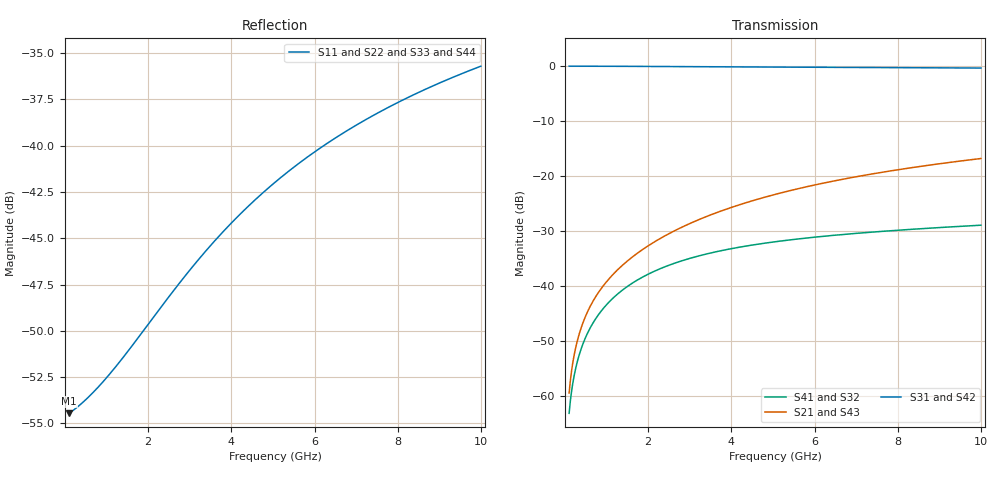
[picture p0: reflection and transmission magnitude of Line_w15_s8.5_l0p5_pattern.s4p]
! TOUCHSTONE file generated by CST MICROWAVE STUDIO
! Date and time: Wed Oct 15 12:58:54 2014
! Project name: Untitled_1.cst
# GHZ S MA R 50
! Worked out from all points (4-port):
!   1001 points, 100 MHz to 10 GHz, reference 50 ohm
!   strongest paths, dB at 100 MHz, 2.575 GHz, 5.05 GHz, 7.525 GHz, 10 GHz:
!     S31: 0.0, -0.1, -0.2, -0.3, -0.4
!     S42: 0.0, -0.1, -0.2, -0.3, -0.4
!     S21: -59.5, -30.2, -23.4, -19.5, -16.8
!     S43: -59.5, -30.2, -23.4, -19.5, -16.8
!     S41: -63.2, -36.1, -32.0, -30.2, -29.0
!     S32: -63.2, -36.1, -32.0, -30.2, -29.0
!   lowest |S11| = -54.5 dB at 100 MHz (marker M1), VSWR 1.00, Z = 50.2 - j0.0172 ohm
!   |S11| at or under -10 dB: start of sweep to end of sweep
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0.1  0.001894 -5.2  0.001055 90.4  0.9981 -0.2  0.0006888 -91.2
     0.001055 90.4  0.001894 -5.3  0.0006888 -91.2  0.9981 -0.2
     0.9981 -0.2  0.0006888 -91.2  0.001894 -5.2  0.001055 90.4
     0.0006888 -91.2  0.9981 -0.2  0.001055 90.4  0.001894 -5.3
0.3376  0.001986 -19.7  0.00358 91.6  0.9978 -0.8  0.002311 -93.8
        0.00358 91.6  0.001989 -20.0  0.00231 -93.8  0.9978 -0.8
        0.9978 -0.8  0.002311 -93.8  0.001985 -19.7  0.00358 91.6
        0.00231 -93.8  0.9978 -0.8  0.00358 91.6  0.001989 -20.0
0.7138  0.002178 -41.7  0.007665 92.9  0.9971 -1.6  0.004841 -97.8
        0.007665 92.9  0.002192 -42.2  0.004841 -97.8  0.9971 -1.6
        0.9971 -1.6  0.004841 -97.8  0.002177 -41.7  0.007665 92.9
        0.004841 -97.8  0.9971 -1.6  0.007665 92.9  0.002193 -42.2
1.3177  0.002611 -74.0  0.01458 94.4  0.9954 -3.0  0.008727 -104.0
        0.01458 94.4  0.002652 -74.4  0.008727 -104.0  0.9954 -3.0
        0.9954 -3.0  0.008727 -104.0  0.00261 -74.1  0.01458 94.4
        0.008727 -104.0  0.9954 -3.0  0.01458 94.4  0.002653 -74.4
2.1889  0.003515 -113.0  0.02557 95.3  0.992 -4.8  0.01376 -112.2
        0.02557 95.3  0.003591 -112.9  0.01376 -112.2  0.992 -4.8
        0.992 -4.8  0.01376 -112.2  0.003519 -113.1  0.02557 95.3
        0.01376 -112.2  0.992 -4.8  0.02557 95.3  0.003591 -112.8
5.2282  0.00827 168.2  0.07056 90.3  0.9784 -10.9  0.02564 -132.3
        0.07056 90.3  0.00834 169.2  0.02563 -132.3  0.9784 -10.9
        0.9784 -10.9  0.02563 -132.3  0.008324 168.3  0.07055 90.3
        0.02564 -132.3  0.9784 -10.9  0.07055 90.3  0.00832 169.4
10  0.01639 116.0  0.144 78.3  0.9597 -19.8  0.03557 -148.5
    0.144 78.3  0.01637 117.0  0.03555 -148.4  0.9597 -19.8
    0.9597 -19.8  0.03555 -148.4  0.01653 116.6  0.1439 78.3
    0.03557 -148.5  0.9597 -19.8  0.1439 78.3  0.0163 117.1
